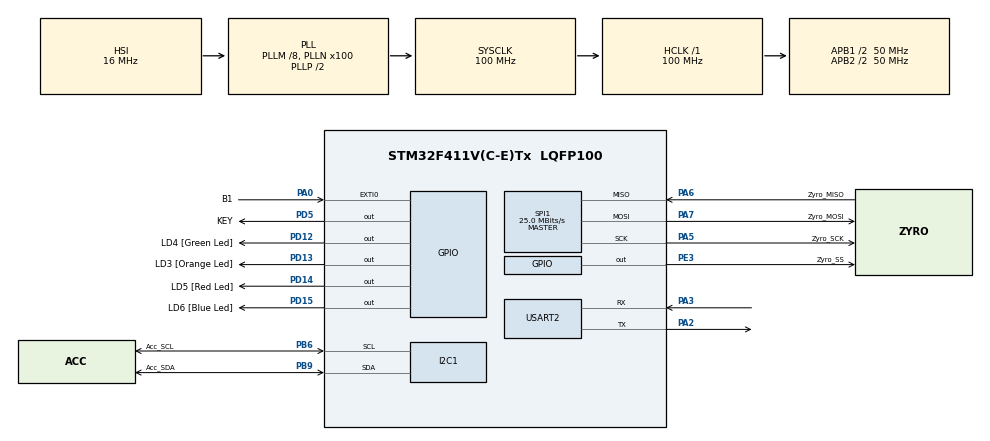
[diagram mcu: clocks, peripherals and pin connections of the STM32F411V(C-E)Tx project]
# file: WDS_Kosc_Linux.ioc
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I2C1.I2C_Mode=I2C_Standard
Mcu.Family=STM32F4
Mcu.Name=STM32F411V(C-E)Tx
Mcu.Package=LQFP100
NVIC.PriorityGroup=NVIC_PRIORITYGROUP_0
NVIC.TIM1_TRG_COM_TIM11_IRQn=true\:0\:0\:false\:false\:true\:true\:true
NVIC.USART2_IRQn=true\:0\:0\:false\:false\:true\:true\:true
PA0-WKUP.GPIO_Label=B1
PA0-WKUP.GPIO_ModeDefaultEXTI=GPIO_MODE_EVT_RISING_FALLING
PA0-WKUP.Signal=GPXTI0
PA2.Mode=Asynchronous
PA2.Signal=USART2_TX
PA3.Mode=Asynchronous
PA3.Signal=USART2_RX
PA5.GPIO_Label=Zyro_SCK
PA5.Mode=Full_Duplex_Master
PA5.Signal=SPI1_SCK
PA6.GPIO_Label=Zyro_MISO
PA6.Mode=Full_Duplex_Master
PA6.Signal=SPI1_MISO
PA7.GPIO_Label=Zyro_MOSI
PA7.Mode=Full_Duplex_Master
PA7.Signal=SPI1_MOSI
PB6.GPIO_Label=Acc_SCL
PB6.Mode=I2C
PB6.Signal=I2C1_SCL
PB9.GPIO_Label=Acc_SDA
PB9.Mode=I2C
PB9.Signal=I2C1_SDA
PC14-OSC32_IN.Mode=LSE-External-Oscillator
PC14-OSC32_IN.Signal=RCC_OSC32_IN
PC15-OSC32_OUT.Mode=LSE-External-Oscillator
PC15-OSC32_OUT.Signal=RCC_OSC32_OUT
PD12.GPIO_Label=LD4 [Green Led]
PD12.GPIO_PuPd=GPIO_NOPULL
PD12.GPIO_Speed=GPIO_SPEED_FREQ_LOW
PD12.Signal=GPIO_Output
PD13.GPIO_Label=LD3 [Orange Led]
PD13.GPIO_PuPd=GPIO_NOPULL
PD13.GPIO_Speed=GPIO_SPEED_FREQ_LOW
PD13.Signal=GPIO_Output
PD14.GPIO_Label=LD5 [Red Led]
PD14.GPIO_PuPd=GPIO_NOPULL
PD14.GPIO_Speed=GPIO_SPEED_FREQ_LOW
PD14.Signal=GPIO_Output
PD15.GPIO_Label=LD6 [Blue Led]
PD15.GPIO_PuPd=GPIO_NOPULL
PD15.GPIO_Speed=GPIO_SPEED_FREQ_LOW
PD15.Signal=GPIO_Output
PD5.GPIO_Label=KEY
PD5.Signal=GPIO_Output
PE3.GPIO_Label=Zyro_SS
PE3.Signal=GPIO_Output
PH0\ -\ OSC_IN.Mode=HSE-External-Clock-Source
PH0\ -\ OSC_IN.Signal=RCC_OSC_IN
PH1\ -\ OSC_OUT.Mode=HSE-External-Clock-Source
PH1\ -\ OSC_OUT.Signal=RCC_OSC_OUT
ProjectManager.HeapSize=0x200
ProjectManager.StackSize=0x400
ProjectManager.TargetToolchain=STM32CubeIDE
RCC.48MHZClocksFreq_Value=25000000
RCC.AHBFreq_Value=100000000
RCC.APB1CLKDivider=RCC_HCLK_DIV2
RCC.APB1Freq_Value=50000000
RCC.APB1TimFreq_Value=100000000
RCC.APB2CLKDivider=RCC_HCLK_DIV2
RCC.APB2Freq_Value=50000000
RCC.APB2TimFreq_Value=100000000
RCC.CortexFreq_Value=100000000
RCC.HCLKFreq_Value=100000000
RCC.HSE_VALUE=8000000
RCC.HSI_VALUE=16000000
RCC.PLLI2SM=5
RCC.PLLI2SN=200
RCC.PLLM=8
RCC.PLLN=100
RCC.PLLQ=8
RCC.SYSCLKFreq_VALUE=100000000
RCC.SYSCLKSource=RCC_SYSCLKSOURCE_PLLCLK
RCC.VCOOutputFreq_Value=200000000
SPI1.CalculateBaudRate=25.0 MBits/s
SPI1.Direction=SPI_DIRECTION_2LINES
SPI1.Mode=SPI_MODE_MASTER
SPI1.VirtualType=VM_MASTER
TIM11.Period=199
TIM11.Prescaler=9999
USART2.VirtualMode=VM_ASYNC
VP_TIM11_VS_ClockSourceINT.Mode=Enable_Timer
board=STM32F411E-DISCO

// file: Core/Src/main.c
/* USER CODE BEGIN Header */
/**
  ******************************************************************************
  * @file           : main.c
  * @brief          : Main program body
  ******************************************************************************
  * @attention
  *
  * <h2><center>&copy; Copyright (c) 2020 STMicroelectronics.
  * All rights reserved.</center></h2>
  *
  * This software component is licensed by ST under BSD 3-Clause license,
  * the "License"; You may not use this file except in compliance with the
  * License. You may obtain a copy of the License at:
  *                        opensource.org/licenses/BSD-3-Clause
  *
  ******************************************************************************
  */
/* USER CODE END Header */

#include "main.h"
#include "i2c.h"
#include "spi.h"
#include "tim.h"
#include "usart.h"
#include "gpio.h"

/* USER CODE BEGIN Includes */
#include <stdio.h>
#include <limits.h>
#include <math.h>
#include <string.h>
/* USER CODE END Includes */

/* USER CODE BEGIN PD */

//AKCELEROMETR
#define ACC_USTAWIENIA 0x57
#define ACC_ADRES (0x19 << 1)
#define ACC_CTRL_REG1_A 0x20
#define ACC_CTRL_REG4_A 0x23
#define ACC_ZCZYTANIE_POCZATEK 0x28
#define ACC_MULTI_READ 0x80
#define ACC_WSZYSTKIE_OSIE_ZCZYTANIE (ACC_MULTI_READ | ACC_ZCZYTANIE_POCZATEK)
#define ACC_SET_4G 0x10

//ZYROSKOP
#define ZYR_REG1_A 0x20
#define ZYR_USTAWIENIA 0x0F
#define ZYR_MULTIREAD 0x40
#define ZYR_READ 0x80
#define ZYR_ZCZYTANIE_POCZATEK 0x28
#define ZYR_WSZYSTKIE_OSIE_ZCZYTANIE (ZYR_READ | ZYR_MULTIREAD | ZYR_ZCZYTANIE_POCZATEK)

/* USER CODE END PD */

/* USER CODE BEGIN PV */

//Komunikacja
int8_t Wiadomosc[200];
uint8_t Odbior[10];
int16_t Rozmiar;

uint8_t Dane[6]; // Tablica przechowujaca wszystkie bajty zczytane z akcelerometru lub zyroskopu
int16_t X = 0; // Zczytane dane z osi X w formie zlaczonych w całość bajtów starszych i młodszych
int16_t Y = 0; // Zczytane dane z osi Y w formie zlaczonych w całość bajtów starszych i młodszych
int16_t Z = 0; // Zczytane dane z osi Z w formie zlaczonych w całość bajtów starszych i młodszych

float X_g = 0; // Zawiera przyspieszenie w osi X w jednostce g - przyspieszenia ziemskiego
float Y_g = 0; // Zawiera przyspieszenie w osi Y w jednostce g - przyspieszenia ziemskiego
float Z_g = 0; // Zawiera przyspieszenie w osi Z w jednostce g - przyspieszenia ziemskiego

float X_mem = 0; // Poprzednia wartość
float Y_mem = 0; // Poprzednia wartość
float Z_mem = 0; // Poprzednia wartość

float X_roznica = 0; // Przechowywuje roznice
float Y_roznica = 0; // Przechowywuje roznice
float Z_roznica = 0; // Przechowywuje roznice

float X_kat = 0; // Zawiera wartosc przyspieszenia katowego w osi X w jednostce dps - degrees per second
float Y_kat = 0; // Zawiera wartosc przyspieszenia katowego w osi Y w jednostce dps - degrees per second
float Z_kat = 0; // Zawiera wartosc przyspieszenia katowego w osi Z w jednostce dps - degrees per second

float roll = 0; //kat roll dla filtru komplementarnego
float pitch = 0; //kat pitch dla filtru komplementarnego

int Button_B_mem = 0; //zmienne przechowujace stan przycisku B1
int Button_B = 0;

int Polaczenie = 0; //nawiazana lacznosc z komputerem

/* USER CODE END PV */

void SystemClock_Config(void);

/* USER CODE BEGIN 0 */

volatile int flaga = 0;
volatile int flaga2 = 0;
//printf przeciazenie

void HAL_TIM_PeriodElapsedCallback (TIM_HandleTypeDef* htim)
{
	if(htim == &htim11){
		flaga = 1;
	}
}

void Setup_UART_BT(UART_HandleTypeDef * UART){

	HAL_Delay(1000);
	HAL_GPIO_WritePin(KEY_GPIO_Port, KEY_Pin, GPIO_PIN_SET);
	HAL_Delay(100);
	/*HAL_UART_Transmit(UART, (uint8_t*) "AT+ORGL\n", strlen("AT+ORGL\n"), 100);
	HAL_Delay(100);
	HAL_UART_Transmit(UART, (uint8_t*) "AT+RMAAD\n", strlen("AT+RMAAD\n"), 100);
	HAL_Delay(100);
	HAL_UART_Transmit(UART, (uint8_t*) "AT+NAME=BT_STM\n", strlen("AT+NAME=BT_STM\n"), 100);
	HAL_Delay(100);
	HAL_UART_Transmit(UART, (uint8_t*) "AT+ROLE=0\n", strlen("AT+ROLE=0\n"), 100);
	HAL_Delay(100);*/
	HAL_UART_Transmit(UART, (uint8_t*) "AT+UART=115200,0,0\n", strlen("AT+UART=115200,0,0\n"), 100);
	HAL_Delay(100);
	HAL_GPIO_WritePin(KEY_GPIO_Port, KEY_Pin, GPIO_PIN_RESET);

}

void Setup_L3GD20(SPI_HandleTypeDef* spi){

	uint8_t tmp;

	//Rozpoczecie komunikacji spi z zyroskopem
	HAL_GPIO_WritePin(Zyro_SS_GPIO_Port, Zyro_SS_Pin, GPIO_PIN_RESET);

	tmp = ZYR_REG1_A;
	HAL_SPI_Transmit(spi, &tmp, 1, 20);
	tmp = ZYR_USTAWIENIA;
	HAL_SPI_Transmit(spi, &tmp, 1, 20);

	HAL_GPIO_WritePin(Zyro_SS_GPIO_Port, Zyro_SS_Pin, GPIO_PIN_SET);
	HAL_Delay(100);
}

void L3GD20_MultiRead(SPI_HandleTypeDef* spi){

	uint8_t tmp;

	//Rozpoczecie komunikacji spi z zyroskopem
	HAL_GPIO_WritePin(Zyro_SS_GPIO_Port, Zyro_SS_Pin, GPIO_PIN_RESET);

	//zczytanie wartosci wskazan 3ech osi naraz (6 bajtow = 3x(mlodszy i starszy bajt))
	tmp = ZYR_WSZYSTKIE_OSIE_ZCZYTANIE;
	HAL_SPI_Transmit(spi, &tmp, 1, 100);//adres wraz z multireadem
	HAL_SPI_Receive(spi, Dane, 6, 100);

	HAL_GPIO_WritePin(Zyro_SS_GPIO_Port, Zyro_SS_Pin, GPIO_PIN_SET);
}

/////////////////////////////////////////////////////////////
void Filtr_komplementarny(float xg, float yg, float zg, float xa, float ya, float za, float przyrost){

	float dt = 0.02;//50 Hz = 0.02s
	float pitchAcc; //zmienna przechowujaca wskazanie akcelerometru dla danego kata
	float rollAcc;  //zmienna przechowujaca wskazanie akcelerometru dla danego kata

	roll+= xa * dt;
	pitch+= ya * dt;

	//obliczenie sumy przyspieszen w celu wyeliminowania drgan

	if (przyrost > 0.4){

        //Obliczenia dla katu roll
        rollAcc = atan2f(xg, zg) * 180 / M_PI;
        roll = roll * 0.98 + rollAcc * 0.02;

		//Obliczenia dla katu pitch
        pitchAcc = atan2f(yg, zg) * 180 / M_PI;
        pitch = pitch * 0.98 + pitchAcc * 0.02;

	}
}
/* USER CODE END 0 */

int main(void)
{

  /* MCU Configuration--------------------------------------------------------*/

  /* Reset of all peripherals, Initializes the Flash interface and the Systick. */
  HAL_Init();

  /* Configure the system clock */
  SystemClock_Config();

  /* Initialize all configured peripherals */
  MX_GPIO_Init();
  MX_I2C1_Init();
  MX_SPI1_Init();
  MX_USART2_UART_Init();
  MX_TIM11_Init();
  /* USER CODE BEGIN 2 */

  	//Zablokowanie komunikacji z zyroskopem
	HAL_GPIO_WritePin(Zyro_SS_GPIO_Port, Zyro_SS_Pin, GPIO_PIN_SET);

	//Wywolanie inicjalizacji ustawien bluetooth
	//Setup_UART_BT(&huart2);

	//AKCELEROMETR - zmienne pomocnicze do komunikacji z akcelerometrem
	uint8_t USTAWIENIA = ACC_USTAWIENIA;
	uint8_t RESOLUTION = ACC_SET_4G;

	//AKCELEROMETR - aktywacja, 100Hz, oś XYZ
	HAL_I2C_Mem_Write(&hi2c1, ACC_ADRES, ACC_CTRL_REG1_A, 1, &USTAWIENIA, 1, 100);

	//AKCELEROMETR - zmiana zakresu pomiarowego z +-2g na +-4g
	HAL_I2C_Mem_Write(&hi2c1, ACC_ADRES, ACC_CTRL_REG4_A, 1, &RESOLUTION, 1, 100);

	//ZYROSKOP - setup
	Setup_L3GD20(&hspi1);

	//TIM11 - 50Hz
	HAL_TIM_Base_Start_IT(&htim11);

	HAL_UART_Receive_IT(&huart2, Odbior, 10);
	Odbior[0] = 0;

  /* USER CODE END 2 */

  /* Infinite loop */
  /* USER CODE BEGIN WHILE */
  while (1)
  {
	   HAL_UART_Receive_IT(&huart2, Odbior, 10);

	   if(Odbior[0] == '1'){

		   Polaczenie = 1;

	   }

	   if(Odbior[0] == '0'){

		   Polaczenie = 0;

	   }
	  if(Polaczenie == 1){

	  		  Button_B_mem = Button_B;
	  		  Button_B = 0;
	  		   if (HAL_GPIO_ReadPin(B1_GPIO_Port, B1_Pin) == GPIO_PIN_SET) {

	  			   if (HAL_GPIO_ReadPin(B1_GPIO_Port, B1_Pin) == GPIO_PIN_SET) {

	  				   Button_B = 1;

	  					   }
	  				   }

	  		   if (flaga == 1){

				   //Zczytanie kolejnych 6ściu bajtów wskazań z kolejno osi x, y, z (3x(mlodszy + starszy bajt))
				   HAL_I2C_Mem_Read(&hi2c1, ACC_ADRES, ACC_WSZYSTKIE_OSIE_ZCZYTANIE, 1, Dane, 6, 100);
				   X = ((Dane[1] << 8) | Dane[0]);
				   Y = ((Dane[3] << 8) | Dane[2]);
				   Z = ((Dane[5] << 8) | Dane[4]);

				   //Przeksztalcenie w faktyczna jednostke wskazan
				   X_g = ((float) X * 4.0) / (float) INT16_MAX;
				   Y_g = ((float) Y * 4.0) / (float) INT16_MAX;
				   Z_g = ((float) Z * 4.0) / (float) INT16_MAX;

				   X_roznica = fabs(X_mem - X_g);
				   Y_roznica = fabs(Y_mem - Y_g);
				   Z_roznica = fabs(Z_mem - Z_g);

				   L3GD20_MultiRead(&hspi1);

				   X_kat = ((float)((int16_t)((Dane[1] << 8) | Dane[0])) * 250.0)/(float) INT16_MAX;
				   Y_kat = ((float)((int16_t)((Dane[3] << 8) | Dane[2])) * 250.0)/(float) INT16_MAX;
				   Z_kat = ((float)((int16_t)((Dane[5] << 8) | Dane[4])) * 250.0)/(float) INT16_MAX;

				   if(X_roznica > 0.15)HAL_GPIO_TogglePin(LD3_GPIO_Port, LD3_Pin);
				   if(Y_roznica > 0.15)HAL_GPIO_TogglePin(LD4_GPIO_Port, LD4_Pin);
				   if(Z_roznica > 0.15)HAL_GPIO_TogglePin(LD5_GPIO_Port, LD5_Pin);

				   Filtr_komplementarny(X_g,Y_g,Z_g, X_kat,Y_kat,Z_kat,X_roznica+Y_roznica+Z_roznica);

				   Rozmiar = sprintf((char *)Wiadomosc, "Xg: %f Yg: %f Zg: %f Xa: %f Ya: %f Za: %f Rkom: %f Pkom: %f B: %d\n", X_g,Y_g, Z_g, X_kat,Y_kat,Z_kat,roll,pitch,Button_B);

				   HAL_UART_Transmit(&huart2, (uint8_t*) Wiadomosc,  Rozmiar, 100);

				   HAL_Delay(5);

				   X_mem = X_g;
				   Y_mem = Y_g;
				   Z_mem = Z_g;

				   flaga = 0;
	  		   }
	  		   HAL_GPIO_WritePin(LD3_GPIO_Port, LD3_Pin, GPIO_PIN_RESET);
	  		   HAL_GPIO_WritePin(LD4_GPIO_Port, LD4_Pin, GPIO_PIN_RESET);
	  		   HAL_GPIO_WritePin(LD5_GPIO_Port, LD5_Pin, GPIO_PIN_RESET);
	  	  }
    /* USER CODE END WHILE */

  }
}

void SystemClock_Config(void)
{
  RCC_OscInitTypeDef RCC_OscInitStruct = {0};
  RCC_ClkInitTypeDef RCC_ClkInitStruct = {0};

  /** Configure the main internal regulator output voltage
  */
  __HAL_RCC_PWR_CLK_ENABLE();
  __HAL_PWR_VOLTAGESCALING_CONFIG(PWR_REGULATOR_VOLTAGE_SCALE1);
  /** Initializes the CPU, AHB and APB busses clocks
  */
  RCC_OscInitStruct.OscillatorType = RCC_OSCILLATORTYPE_HSI;
  RCC_OscInitStruct.HSIState = RCC_HSI_ON;
  RCC_OscInitStruct.HSICalibrationValue = RCC_HSICALIBRATION_DEFAULT;
  RCC_OscInitStruct.PLL.PLLState = RCC_PLL_ON;
  RCC_OscInitStruct.PLL.PLLSource = RCC_PLLSOURCE_HSI;
  RCC_OscInitStruct.PLL.PLLM = 8;
  RCC_OscInitStruct.PLL.PLLN = 100;
  RCC_OscInitStruct.PLL.PLLP = RCC_PLLP_DIV2;
  RCC_OscInitStruct.PLL.PLLQ = 8;
  if (HAL_RCC_OscConfig(&RCC_OscInitStruct) != HAL_OK)
  {
    Error_Handler();
  }
  /** Initializes the CPU, AHB and APB busses clocks
  */
  RCC_ClkInitStruct.ClockType = RCC_CLOCKTYPE_HCLK|RCC_CLOCKTYPE_SYSCLK
                              |RCC_CLOCKTYPE_PCLK1|RCC_CLOCKTYPE_PCLK2;
  RCC_ClkInitStruct.SYSCLKSource = RCC_SYSCLKSOURCE_PLLCLK;
  RCC_ClkInitStruct.AHBCLKDivider = RCC_SYSCLK_DIV1;
  RCC_ClkInitStruct.APB1CLKDivider = RCC_HCLK_DIV2;
  RCC_ClkInitStruct.APB2CLKDivider = RCC_HCLK_DIV2;

  if (HAL_RCC_ClockConfig(&RCC_ClkInitStruct, FLASH_LATENCY_3) != HAL_OK)
  {
    Error_Handler();
  }
}

void Error_Handler(void)
{
}

/************************ (C) COPYRIGHT STMicroelectronics *****END OF FILE****/
